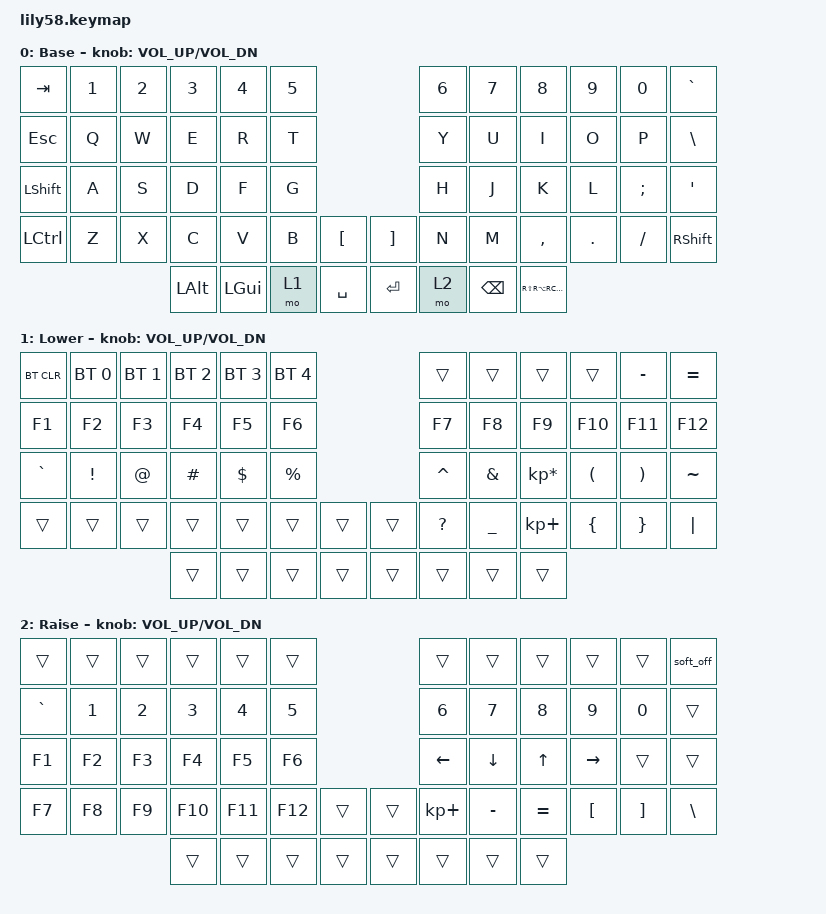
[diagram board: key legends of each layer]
/*
 * Copyright (c) 2020 The ZMK Contributors
 *
 * SPDX-License-Identifier: MIT
 */

#include <behaviors.dtsi>
#include <dt-bindings/zmk/keys.h>
#include <dt-bindings/zmk/bt.h>
#include <dt-bindings/zmk/ext_power.h>
#include "status_screen.dtsi"

/ {
    chosen {
        zmk,kscan = &kscan0;
        zephyr,display = &oled;
        zmk,status-screen = &status_screen;
    };

    keymap {
        compatible = "zmk,keymap";

        default_layer {
            /* QWERTY
 * ,------------------------------------,                    ,------------------------------------.
 * |  TAB |  1  |  2  |  3  |  4  |  5  |                    |  6  |  7  |  8  |  9  |  0  |  `   |
 * |------+-----+-----+-----+-----+-----|                    |-----+-----+-----+-----+-----+------|
 * |  ESC |  Q  |  W  |  E  |  R  |  T  |                    |  Y  |  U  |  I  |  O  |  P  |  -   |
 * |------+-----+-----+-----+-----+-----|                    |-----+-----+-----+-----+-----+------|
 * | CTRL |  A  |  S  |  D  |  F  |  G  |-------.    ,-------|  H  |  J  |  K  |  L  |  ;  |  '   |
 * |------+-----+-----+-----+-----+-----|   [   |    |   ]   |-----+-----+-----+-----+-----+------|
 * |Shift |  Z  |  X  |  C  |  V  |  B  |-------|    |-------|  N  |  M  |  ,  |  .  |  /  |Shift |
 * `------------------------------------/       /     \      \------------------------------------'
 *              | Alt  | GUI  |Lower | /Space  /       \Enter \  |Raise |BSPC | GUI  |
 *              `---------------------------'           '------''--------------------'
 */
            display-name = "Base";
            bindings = <
&kp TAB    &kp N1  &kp N2  &kp N3    &kp N4    &kp N5                         &kp N6  &kp N7    &kp N8     &kp N9   &kp N0    &kp GRAVE
&kp ESC    &kp Q   &kp W   &kp E     &kp R     &kp T                          &kp Y   &kp U     &kp I      &kp O    &kp P     &kp BACKSLASH
&kp LSHFT  &kp A   &kp S   &kp D     &kp F     &kp G                          &kp H   &kp J     &kp K      &kp L    &kp SEMI  &kp SQT
&kp LCTRL  &kp Z   &kp X   &kp C     &kp V     &kp B   &kp LBKT     &kp RBKT  &kp N   &kp M     &kp COMMA  &kp DOT  &kp FSLH  &kp RSHFT
                           &kp LALT  &kp LGUI  &mo 1   &kp SPACE    &kp RET   &mo 2   &kp BSPC  &kp RS(RA(RC(RIGHT_GUI))) 
            >;

            sensor-bindings = <&inc_dec_kp C_VOL_UP C_VOL_DN>;
        };

        lower_layer {
            /* LOWER
 * ,-----------------------------------.                    ,-----------------------------------------.
 * |BTCLR| BT1 | BT2 | BT3 | BT4 | BT5 |                    |      |      |      |      |      |      |
 * |-----+-----+-----+-----+-----+-----|                    |------+------+------+------+------+------|
 * | F1  | F2  | F3  | F4  | F5  | F6  |                    | F7   | F8   | F9   | F10  | F11  | F12  |
 * |-----+-----+-----+-----+-----+-----|                    |------+------+------+------+------+------|
 * |  `  |  !  |  @  |  #  |  $  |  %  |-------.    ,-------|  ^   |  &   |  *   |  (   |  )   |  ~   |
 * |-----+-----+-----+-----+-----+-----|       |    |       |------+------+------+------+------+------|
 * |     |     |     |     |     |     |-------|    |-------|  ?   |  _   |  +   |  {   |  }   |  "|" |
 * `-----------------------------------/       /     \      \-----------------------------------------'
 *             |      |      |      | /       /       \      \ |      |      |      |
 *             `-----------------------------'         '------''--------------------'
 */
            display-name = "Lower";
            bindings = <
&bt BT_CLR  &bt BT_SEL 0  &bt BT_SEL 1  &bt BT_SEL 2  &bt BT_SEL 3  &bt BT_SEL 4                    &trans     &trans     &trans           &trans    &kp MINUS  &kp EQUAL
&kp F1      &kp F2        &kp F3        &kp F4        &kp F5        &kp F6                          &kp F7     &kp F8     &kp F9           &kp F10   &kp F11    &kp F12
&kp GRAVE   &kp EXCL      &kp AT        &kp HASH      &kp DOLLAR    &kp PRCNT                       &kp CARET  &kp AMPS   &kp KP_MULTIPLY  &kp LPAR  &kp RPAR   &kp TILDE
&trans      &trans        &trans        &trans        &trans        &trans        &trans    &trans  &kp QMARK  &kp UNDER  &kp KP_PLUS      &kp LBRC  &kp RBRC   &kp PIPE
                                        &trans        &trans        &trans        &trans    &trans  &trans     &trans     &trans
            >;

            sensor-bindings = <&inc_dec_kp C_VOL_UP C_VOL_DN>;
        };

        raise_layer {
            /* RAISE
 * ,------------------------------------.                    ,------------------------------------.
 * |      |     |     |     |     |     |                    |     |     |     |     |     | OFF  |
 * |------+-----+-----+-----+-----+-----|                    |-----+-----+-----+-----+-----+------|
 * |  `   |  1  |  2  |  3  |  4  |  5  |                    |  6  |  7  |  8  |  9  |  0  |      |
 * |------+-----+-----+-----+-----+-----|                    |-----+-----+-----+-----+-----+------|
 * | F1   | F2  | F3  | F4  | F5  | F6  |-------.    ,-------| <-  |  v  |  ^  | ->  |     |      |
 * |------+-----+-----+-----+-----+-----|       |    |       |-----+-----+-----+-----+-----+------|
 * | F7   | F8  | F9  | F10 | F11 | F12 |-------|    |-------|  +  |  -  |  =  |  [  |  ]  |  \   |
 * `------------------------------------/       /     \      \------------------------------------'
 *              |      |      |      | /       /       \      \ |      |      |      |
 *               `---------------------------'          '------''--------------------'
 */
            display-name = "Raise";
            bindings = <
&trans     &trans  &trans  &trans   &trans   &trans                     &trans       &trans     &trans     &trans     &trans    &soft_off
&kp GRAVE  &kp N1  &kp N2  &kp N3   &kp N4   &kp N5                     &kp N6       &kp N7     &kp N8     &kp N9     &kp N0    &trans
&kp F1     &kp F2  &kp F3  &kp F4   &kp F5   &kp F6                     &kp LEFT     &kp DOWN   &kp UP     &kp RIGHT  &trans    &trans
&kp F7     &kp F8  &kp F9  &kp F10  &kp F11  &kp F12  &trans    &trans  &kp KP_PLUS  &kp MINUS  &kp EQUAL  &kp LBKT   &kp RBKT  &kp BSLH
                           &trans   &trans   &trans   &trans    &trans  &trans       &trans     &trans
            >;

            sensor-bindings = <&inc_dec_kp C_VOL_UP C_VOL_DN>;
        };

        extra_1 {
            status = "reserved";
        };

        extra_2 {
            status = "reserved";
        };

        extra_3 {
            status = "reserved";
        };
    };
};
